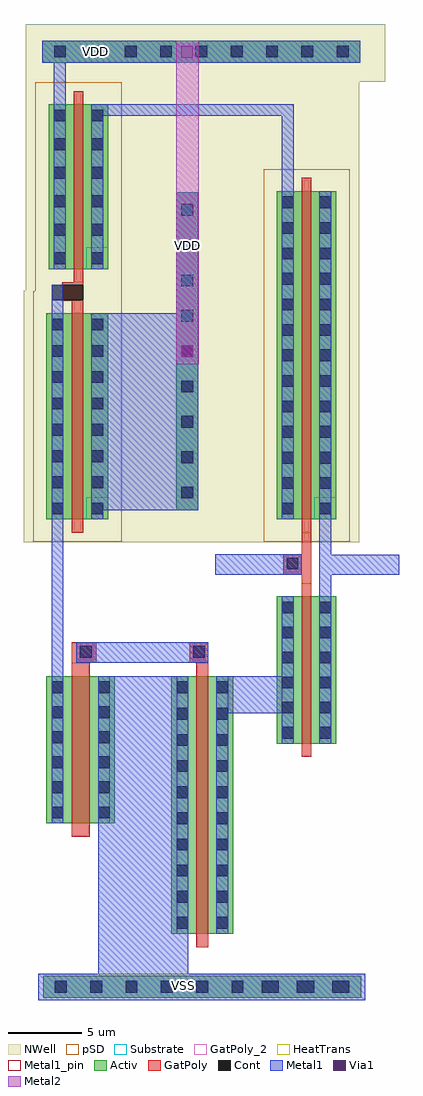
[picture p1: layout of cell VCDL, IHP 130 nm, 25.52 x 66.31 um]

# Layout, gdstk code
import gdstk
lib = gdstk.Library(unit=1e-6, precision=5e-09)
def R(c, l, rs):  # rectangles x0, y0, x1, y1
    for r in rs: c.add(gdstk.rectangle(r[:2], r[2:], *l))
def A(c, l, x, y, w, h, nx, ny, dx, dy):  # array of equal rectangles
    R(c, l, [(x+i*dx, y+j*dy, x+i*dx+w, y+j*dy+h) for i in range(nx) for j in range(ny)])
Activ = (1, 0)
GatPoly = (5, 0)
GatPoly_2 = (5, 2)
Cont = (6, 0)
Metal1 = (8, 0)
Metal1_pin = (8, 2)
Metal2 = (10, 0)
pSD = (14, 0)
Via1 = (19, 0)
NWell = (31, 0)
Substrate = (40, 0)
HeatTrans = (51, 0)

nmos = lib.new_cell('nmos')
R(nmos, Activ, [(0,0,1.5,1.5), (0,0,4.05,10), (2.55,0,4.05,1.5)])
R(nmos, GatPoly, [(1.7,-0.9,2.35,10.9)])
R(nmos, GatPoly_2, [(1.7,-0.9,2.35,10.9)])
A(nmos, Cont, 0.35, 0.35, 0.8, 0.8, 1, 6, 0, 1.7)
A(nmos, Cont, 2.9, 0.35, 0.8, 0.8, 1, 6, 0, 1.7)
R(nmos, Metal1, [(0.35,0,1.15,10), (2.9,0,3.7,10)])
R(nmos, Metal1_pin, [(0.35,0,1.15,10), (2.9,0,3.7,10)])
R(nmos, HeatTrans, [(1.7,-0.9,2.35,10.9)])
nmos.add(gdstk.Label('nmos', (2.025,5), layer=63, texttype=0))
nmos.add(gdstk.Label('nmos', (2.025,5), layer=51, texttype=0))

pmos_1 = lib.new_cell('pmos$1')
R(pmos_1, Activ, [(0,0,1.5,1.5), (0,0,4.2,14), (2.7,0,4.2,1.5)])
R(pmos_1, GatPoly, [(1.7,-0.9,2.5,14.9), (1.7,-0.9,2.5,14.9)])
A(pmos_1, Cont, 0.35, 0.35, 0.8, 0.8, 1, 3, 0, 1.775)
A(pmos_1, Cont, 3.05, 0.35, 0.8, 0.8, 1, 3, 0, 1.775)
R(pmos_1, Cont, [(0.35,5.7,1.15,6.5), (3.05,5.7,3.85,6.5), (0.35,7.475,1.15,8.275), (3.05,7.475,3.85,8.275), (0.35,9.275,1.15,10.075), (3.05,9.275,3.85,10.075), (0.35,11.05,1.15,11.85), (3.05,11.05,3.85,11.85), (0.35,12.85,1.15,13.65), (3.05,12.85,3.85,13.65)])
R(pmos_1, Metal1, [(0.35,0,1.15,14), (0.35,0,1.15,14), (3.05,0,3.85,14), (3.05,0,3.85,14)])
R(pmos_1, pSD, [(-0.9,-1.5,5.1,15.5)])
R(pmos_1, NWell, [(-1.55,-1.55,5.75,15.55)])
R(pmos_1, Substrate, [(2.7,0,4.2,1.5)])
R(pmos_1, HeatTrans, [(1.7,-0.9,2.5,14.9)])
pmos_1.add(gdstk.Label('pmos', (2.1,7), layer=63, texttype=0))
pmos_1.add(gdstk.Label('pmos', (2.1,7), layer=51, texttype=0))

pmos = lib.new_cell('pmos')
R(pmos, Activ, [(0,0,1.5,1.5), (0,0,4.05,22.3), (2.55,0,4.05,1.5)])
R(pmos, GatPoly, [(1.7,-0.9,2.35,23.2), (1.7,-0.9,2.35,23.2)])
A(pmos, Cont, 0.35, 0.35, 0.8, 0.8, 1, 3, 0, 1.725)
A(pmos, Cont, 2.9, 0.35, 0.8, 0.8, 1, 3, 0, 1.725)
A(pmos, Cont, 0.35, 5.55, 0.8, 0.8, 1, 3, 0, 1.725)
A(pmos, Cont, 2.9, 5.55, 0.8, 0.8, 1, 3, 0, 1.725)
A(pmos, Cont, 0.35, 10.75, 0.8, 0.8, 1, 3, 0, 1.725)
A(pmos, Cont, 2.9, 10.75, 0.8, 0.8, 1, 3, 0, 1.725)
A(pmos, Cont, 0.35, 15.95, 0.8, 0.8, 1, 3, 0, 1.725)
A(pmos, Cont, 2.9, 15.95, 0.8, 0.8, 1, 3, 0, 1.725)
R(pmos, Cont, [(0.35,21.15,1.15,21.95), (2.9,21.15,3.7,21.95)])
R(pmos, Metal1, [(0.35,0,1.15,22.3), (0.35,0,1.15,22.3), (2.9,0,3.7,22.3), (2.9,0,3.7,22.3)])
R(pmos, pSD, [(-0.9,-1.5,4.95,23.8)])
R(pmos, NWell, [(-1.55,-1.55,5.6,23.85)])
R(pmos, Substrate, [(2.55,0,4.05,1.5)])
R(pmos, HeatTrans, [(1.7,-0.9,2.35,23.2)])
pmos.add(gdstk.Label('pmos', (2.025,11.15), layer=63, texttype=0))
pmos.add(gdstk.Label('pmos', (2.025,11.15), layer=51, texttype=0))

pmos_2 = lib.new_cell('pmos$2')
R(pmos_2, Activ, [(0,0,1.5,1.5), (0,0,4.05,11.2), (2.55,0,4.05,1.5)])
R(pmos_2, GatPoly, [(1.7,-0.9,2.35,12.1), (1.7,-0.9,2.35,12.1)])
A(pmos_2, Cont, 0.35, 6.15, 0.8, 0.8, 1, 3, 0, 1.95)
A(pmos_2, Cont, 2.9, 6.15, 0.8, 0.8, 1, 3, 0, 1.95)
R(pmos_2, Cont, [(0.35,0.35,1.15,1.15), (2.9,0.35,3.7,1.15), (0.35,2.275,1.15,3.075), (2.9,2.275,3.7,3.075), (0.35,4.225,1.15,5.025), (2.9,4.225,3.7,5.025)])
R(pmos_2, Metal1, [(0.35,0,1.15,11.2), (0.35,0,1.15,11.2), (2.9,0,3.7,11.2), (2.9,0,3.7,11.2)])
R(pmos_2, pSD, [(-0.9,-1.5,4.95,12.7)])
R(pmos_2, NWell, [(-1.55,-1.55,5.6,12.75)])
R(pmos_2, Substrate, [(2.55,0,4.05,1.5)])
R(pmos_2, HeatTrans, [(1.7,-0.9,2.35,12.1)])
pmos_2.add(gdstk.Label('pmos', (2.025,5.6), layer=63, texttype=0))
pmos_2.add(gdstk.Label('pmos', (2.025,5.6), layer=51, texttype=0))

nmos_2 = lib.new_cell('nmos$2')
R(nmos_2, Activ, [(0,0,1.5,1.5), (0,0,4.65,10), (3.15,0,4.65,1.5)])
R(nmos_2, GatPoly, [(1.7,-0.9,2.95,10.9)])
R(nmos_2, GatPoly_2, [(1.7,-0.9,2.95,10.9)])
A(nmos_2, Cont, 0.35, 0.35, 0.8, 0.8, 1, 6, 0, 1.7)
A(nmos_2, Cont, 3.5, 0.35, 0.8, 0.8, 1, 6, 0, 1.7)
R(nmos_2, Metal1, [(0.35,0,1.15,10), (3.5,0,4.3,10)])
R(nmos_2, Metal1_pin, [(0.35,0,1.15,10), (3.5,0,4.3,10)])
R(nmos_2, HeatTrans, [(1.7,-0.9,2.95,10.9)])
nmos_2.add(gdstk.Label('nmos', (2.325,5), layer=63, texttype=0))
nmos_2.add(gdstk.Label('nmos', (2.325,5), layer=51, texttype=0))

nmos_1 = lib.new_cell('nmos$1')
R(nmos_1, Activ, [(0,0,1.5,1.5), (0,0,4.2,17.5), (2.7,0,4.2,1.5)])
R(nmos_1, GatPoly, [(1.7,-0.9,2.5,18.4)])
R(nmos_1, GatPoly_2, [(1.7,-0.9,2.5,18.4)])
A(nmos_1, Cont, 0.35, 0.35, 0.8, 0.8, 1, 9, 0, 1.775)
A(nmos_1, Cont, 3.05, 0.35, 0.8, 0.8, 1, 9, 0, 1.775)
R(nmos_1, Cont, [(0.35,16.35,1.15,17.15), (3.05,16.35,3.85,17.15)])
R(nmos_1, Metal1, [(0.35,0,1.15,17.5), (3.05,0,3.85,17.5)])
R(nmos_1, Metal1_pin, [(0.35,0,1.15,17.5), (3.05,0,3.85,17.5)])
R(nmos_1, HeatTrans, [(1.7,-0.9,2.5,18.4)])
nmos_1.add(gdstk.Label('nmos', (2.1,8.75), layer=63, texttype=0))
nmos_1.add(gdstk.Label('nmos', (2.1,8.75), layer=51, texttype=0))

vcdl = lib.new_cell('VCDL')
R(vcdl, Activ, [(34.58,38.055,41.78,39.555), (34.58,38.055,41.78,39.555), (41.78,38.055,48.98,39.555), (41.78,38.055,48.98,39.555), (48.98,38.055,56.18,39.555), (48.98,38.055,56.18,39.555), (43.615,71.185,45.115,78.385), (43.615,78.385,45.115,85.585), (43.615,85.585,45.115,92.79), (34.52,101.585,41.725,103.085), (41.725,101.585,48.925,103.085), (48.925,101.585,56.125,103.085)])
R(vcdl, GatPoly, [(36.505,60.8,38.2,62.195), (44.545,60.8,45.795,62.195), (52.15,66.22,52.8,69.65), (50.9,66.795,52.15,68.19), (35.875,85.395,37.305,86.65)])
R(vcdl, Cont, [(35.38,38.405,36.18,39.205), (35.38,38.405,36.18,39.205), (35.38,38.405,36.18,39.205), (35.38,38.405,36.18,39.205), (37.78,38.405,38.58,39.205), (37.78,38.405,38.58,39.205), (37.78,38.405,38.58,39.205), (37.78,38.405,38.58,39.205), (40.18,38.405,40.98,39.205), (40.18,38.405,40.98,39.205), (40.18,38.405,40.98,39.205), (40.18,38.405,40.98,39.205), (42.58,38.405,43.38,39.205), (42.58,38.405,43.38,39.205), (42.58,38.405,43.38,39.205), (42.58,38.405,43.38,39.205), (44.98,38.405,45.78,39.205), (44.98,38.405,45.78,39.205), (44.98,38.405,45.78,39.205), (44.98,38.405,45.78,39.205), (47.38,38.405,48.18,39.205), (47.38,38.405,48.18,39.205), (47.38,38.405,48.18,39.205), (47.38,38.405,48.18,39.205), (49.415,38.405,50.215,39.205), (49.415,38.405,50.215,39.205), (49.415,38.405,50.215,39.205), (49.415,38.405,50.215,39.205), (49.78,38.405,50.58,39.205), (49.78,38.405,50.58,39.205), (49.78,38.405,50.58,39.205), (49.78,38.405,50.58,39.205), (51.815,38.405,52.615,39.205), (51.815,38.405,52.615,39.205), (51.815,38.405,52.615,39.205), (51.815,38.405,52.615,39.205), (52.18,38.405,52.98,39.205), (52.18,38.405,52.98,39.205), (52.18,38.405,52.98,39.205), (52.18,38.405,52.98,39.205), (54.215,38.405,55.015,39.205), (54.215,38.405,55.015,39.205), (54.215,38.405,55.015,39.205), (54.215,38.405,55.015,39.205), (54.58,38.405,55.38,39.205), (54.58,38.405,55.38,39.205), (54.58,38.405,55.38,39.205), (54.58,38.405,55.38,39.205), (37.075,61.16,37.875,61.96), (44.77,61.16,45.57,61.96), (51.125,67.155,51.925,67.955), (43.965,71.985,44.765,72.785), (43.965,71.985,44.765,72.785), (43.965,74.385,44.765,75.185), (43.965,74.385,44.765,75.185), (43.965,76.785,44.765,77.585), (43.965,76.785,44.765,77.585), (43.965,79.185,44.765,79.985), (43.965,79.185,44.765,79.985), (43.965,81.585,44.765,82.385), (43.965,81.585,44.765,82.385), (43.965,83.985,44.765,84.785), (43.965,83.985,44.765,84.785), (35.155,85.45,37.305,86.49), (36.28,85.575,37.08,86.375), (43.965,86.385,44.765,87.19), (43.965,86.385,44.765,87.19), (43.965,88.79,44.765,89.59), (43.965,88.79,44.765,89.59), (43.965,91.19,44.765,91.99), (43.965,91.19,44.765,91.99), (35.32,101.935,36.12,102.735), (35.32,101.935,36.12,102.735), (37.72,101.935,38.52,102.735), (37.72,101.935,38.52,102.735), (40.12,101.935,40.925,102.735), (40.12,101.935,40.925,102.735), (42.525,101.935,43.325,102.735), (42.525,101.935,43.325,102.735), (44.925,101.935,45.725,102.735), (44.925,101.935,45.725,102.735), (47.325,101.935,48.125,102.735), (47.325,101.935,48.125,102.735), (49.725,101.935,50.525,102.735), (49.725,101.935,50.525,102.735), (52.125,101.935,52.925,102.735), (52.125,101.935,52.925,102.735), (54.525,101.935,55.325,102.735), (54.525,101.935,55.325,102.735)])
R(vcdl, Metal1, [(34.23,37.905,56.455,39.705), (34.23,37.905,56.455,39.705), (38.305,39.705,44.445,59.9), (46.345,57.4,51.6,59.9), (35.155,59.9,35.955,70.55), (36.825,60.8,45.795,62.195), (53.35,65.32,54.15,70.55), (46.265,66.795,52.15,68.19), (53.35,66.8,58.775,68.165), (37.855,71.175,45.115,84.55), (43.615,71.175,45.115,92.79), (35.155,84.55,35.955,86.49), (50.8,92.85,51.6,98.75), (37.855,97.99,51.6,98.75), (35.305,98.75,36.12,102.735), (34.52,101.585,56.135,103.085)])
R(vcdl, Metal1_pin, [(43.805,38.58,44.455,39.23), (44.04,88.865,44.69,89.515), (37.795,102.01,38.445,102.66)])
R(vcdl, Metal2, [(43.615,81.085,45.14,103.085)])
R(vcdl, pSD, [(34.23,37.905,42.13,39.705), (41.43,37.905,56.455,39.705)])
R(vcdl, Via1, [(43.965,81.585,44.765,82.385), (43.955,101.925,44.755,102.725)])
R(vcdl, NWell, [(40.555,69,48.9,94.405), (40.555,94.4,56.05,100.3), (33.405,100.3,57.805,104.21)])
vcdl.add(gdstk.Reference(nmos, (50.45,55.32)))
vcdl.add(gdstk.Reference(pmos_1, (34.805,70.55)))
vcdl.add(gdstk.Reference(pmos, (50.45,70.55)))
vcdl.add(gdstk.Reference(pmos_2, (34.955,87.55)))
vcdl.add(gdstk.Reference(nmos_2, (34.805,49.9)))
vcdl.add(gdstk.Reference(nmos_1, (43.295,42.4)))
vcdl.add(gdstk.Label('VSS', (44.13,38.905), layer=8, texttype=25))
vcdl.add(gdstk.Label('VSS', (44.13,38.905), layer=8, texttype=25))
vcdl.add(gdstk.Label('VDD', (44.365,89.19), layer=8, texttype=25))
vcdl.add(gdstk.Label('VDD', (38.12,102.335), layer=8, texttype=25))

lib.write_gds('VCDL.gds')
